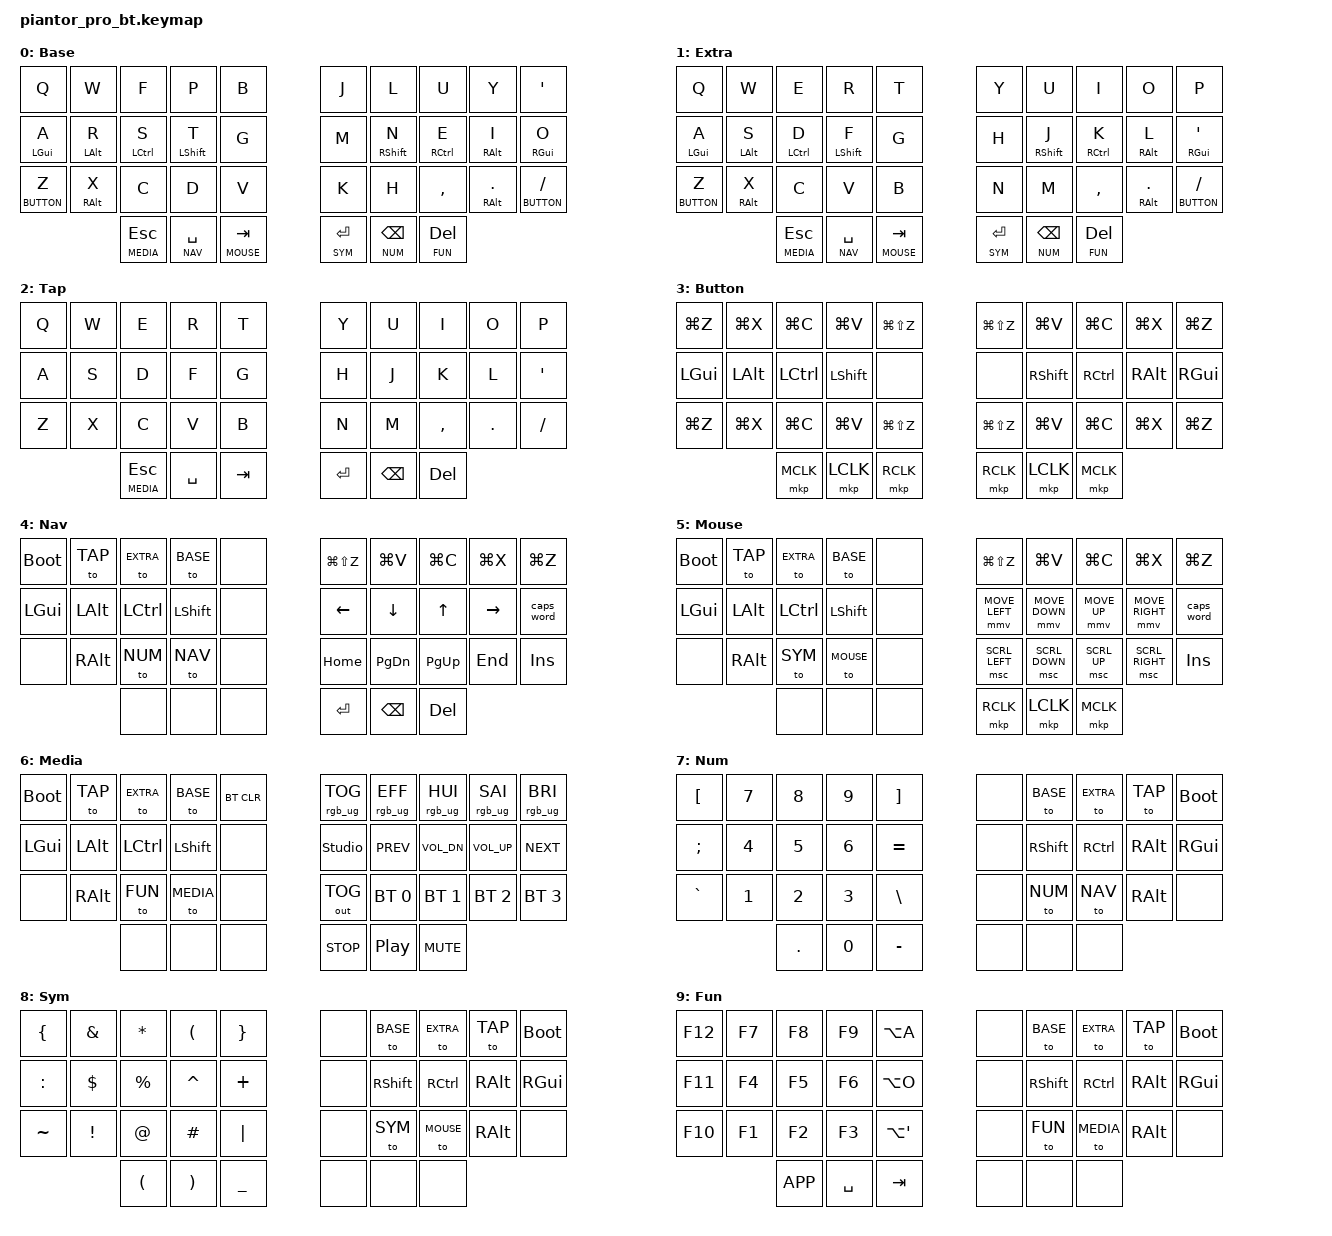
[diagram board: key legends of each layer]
/*
 * Copyright (c) 2020 The ZMK Contributors
 *
 * SPDX-License-Identifier: MIT
 *
 * Miryoku-inspired layout for Piantor Pro BT (5-col, 36-key)
 * Reference: https://github.com/manna-harbour/miryoku
 *
 * Base: Colemak-DH
 * Home row mods: GACS (GUI / Alt / Ctrl / Shift), mirrored both hands
 * Thumb cluster: ESC→Media | Spc→Nav | Tab→Mouse ║ Ret→Sym | Bspc→Num | Del→Fun
 */

#include <behaviors.dtsi>
#include <dt-bindings/zmk/keys.h>
#include <dt-bindings/zmk/bt.h>
#include <dt-bindings/zmk/rgb.h>
#include <dt-bindings/zmk/outputs.h>
#define ZMK_POINTING_DEFAULT_MOVE_VAL 900
#define ZMK_POINTING_DEFAULT_SCRL_VAL 15
#include <dt-bindings/zmk/pointing.h>

// Layer indices
#define BASE   0
#define EXTRA  1
#define TAP    2
#define BUTTON 3
#define NAV    4
#define MOUSE  5
#define MEDIA  6
#define NUM    7
#define SYM    8
#define FUN    9

// Key positions (36-key 5-col layout):
//  0  1  2  3  4    5  6  7  8  9
// 10 11 12 13 14   15 16 17 18 19
// 20 21 22 23 24   25 26 27 28 29
//          30 31 32  33 34 35

/ {
    chosen {
        zmk,physical-layout = &five_col_layout;
    };
};

/ {
    behaviors {
        // Left-hand home row mods — hold triggers when a right-side key is also pressed
        hml: homerow_mods_left {
            compatible = "zmk,behavior-hold-tap";
            #binding-cells = <2>;
            tapping-term-ms = <280>;
            quick-tap-ms = <175>;
            require-prior-idle-ms = <150>;
            flavor = "balanced";
            bindings = <&kp>, <&kp>;
            hold-trigger-key-positions = <5 6 7 8 9 15 16 17 18 19 25 26 27 28 29 33 34 35>;
            hold-trigger-on-release;
        };

        // Right-hand home row mods — hold triggers when a left-side key is also pressed
        hmr: homerow_mods_right {
            compatible = "zmk,behavior-hold-tap";
            #binding-cells = <2>;
            tapping-term-ms = <280>;
            quick-tap-ms = <175>;
            require-prior-idle-ms = <150>;
            flavor = "balanced";
            bindings = <&kp>, <&kp>;
            hold-trigger-key-positions = <0 1 2 3 4 10 11 12 13 14 20 21 22 23 24 30 31 32>;
            hold-trigger-on-release;
        };
    };

    keymap {
        compatible = "zmk,keymap";

        // ┌─────────────────────────────────────────────────────────────────────────┐
        // │ 0: Base — Colemak-DH + home row mods (GACS)                            │
        // │  Q   W   F   P   B     J   L   U   Y   '                               │
        // │ ^A  ⌥R  ⌃S  ⇧T   G     M  ⇧N  ⌃E  ⌥I  ^O                              │
        // │ ⬛Z  ⌥X   C   D   V     K   H   ,  ⌥.  ⬛/                              │
        // │          ⎋  Spc Tab   Ret Bsp Del                                       │
        // │       (Med)(Nav)(Mou)(Sym)(Num)(Fun)                                    │
        // └─────────────────────────────────────────────────────────────────────────┘
        base_layer {
            display-name = "Base";
            bindings = <
                &kp Q         &kp W         &kp F          &kp P          &kp B            &kp J          &kp L          &kp U          &kp Y         &kp SQT
                &hml LGUI A   &hml LALT R   &hml LCTRL S   &hml LSHFT T   &kp G            &kp M          &hmr RSHFT N   &hmr RCTRL E   &hmr RALT I   &hmr RGUI O
                &lt BUTTON Z  &hml RALT X   &kp C          &kp D          &kp V            &kp K          &kp H          &kp COMMA      &hmr RALT DOT &lt BUTTON FSLH
                                            &lt MEDIA ESC  &lt NAV SPACE  &lt MOUSE TAB    &lt SYM RET    &lt NUM BSPC   &lt FUN DEL
            >;
        };

        // ┌──────────────────────────────────────────────────────────────────────────────────────────────┐
        // │ 1: Extra — QWERTY with home row mods (same CAGS structure as Base)                         │
        // └──────────────────────────────────────────────────────────────────────────────────────────────┘
        extra_layer {
            display-name = "Extra";
            bindings = <
                &kp Q         &kp W         &kp E          &kp R          &kp T            &kp Y          &kp U          &kp I          &kp O         &kp P
                &hml LGUI A   &hml LALT S   &hml LCTRL D   &hml LSHFT F   &kp G            &kp H          &hmr RSHFT J   &hmr RCTRL K   &hmr RALT L   &hmr RGUI SQT
                &lt BUTTON Z  &hml RALT X   &kp C          &kp V          &kp B            &kp N          &kp M          &kp COMMA      &hmr RALT DOT &lt BUTTON FSLH
                                            &lt MEDIA ESC  &lt NAV SPACE  &lt MOUSE TAB    &lt SYM RET    &lt NUM BSPC   &lt FUN DEL
            >;
        };

        // ┌──────────────────────────────────────────────────────────────────────────────────────────────┐
        // │ 2: Tap — plain QWERTY, no hold behaviors (useful for gaming or hold-incompatible apps)       │
        // └──────────────────────────────────────────────────────────────────────────────────────────────┘
        tap_layer {
            display-name = "Tap";
            bindings = <
                &kp Q         &kp W         &kp E          &kp R          &kp T            &kp Y          &kp U          &kp I          &kp O         &kp P
                &kp A         &kp S         &kp D          &kp F          &kp G            &kp H          &kp J          &kp K          &kp L         &kp SQT
                &kp Z         &kp X         &kp C          &kp V          &kp B            &kp N          &kp M          &kp COMMA      &kp DOT       &kp FSLH
                                            &lt MEDIA ESC  &kp SPACE      &kp TAB          &kp RET        &kp BSPC       &kp DEL
            >;
        };

        // ┌──────────────────────────────────────────────────────────────────────────────────────────────────────────┐
        // │ 3: Button — clipboard (undo/cut/copy/paste/redo) mirrored both halves; mouse buttons on thumbs           │
        // │ Activated by holding Z (left outer) or / (right outer)                                                   │
        // └──────────────────────────────────────────────────────────────────────────────────────────────────────────┘
        button_layer {
            display-name = "Button";
            bindings = <
                &kp LG(Z)     &kp LG(X)     &kp LG(C)      &kp LG(V)      &kp LG(LS(Z))        &kp LG(LS(Z))      &kp LG(V)      &kp LG(C)      &kp LG(X)     &kp LG(Z)
                &kp LGUI      &kp LALT      &kp LCTRL      &kp LSHFT      &none            &none          &kp RSHFT      &kp RCTRL      &kp RALT      &kp RGUI
                &kp LG(Z)     &kp LG(X)     &kp LG(C)      &kp LG(V)      &kp LG(LS(Z))        &kp LG(LS(Z))      &kp LG(V)      &kp LG(C)      &kp LG(X)     &kp LG(Z)
                                            &mkp MCLK      &mkp LCLK      &mkp RCLK        &mkp RCLK      &mkp LCLK      &mkp MCLK
            >;
        };

        // ┌─────────────────────────────────────────────────────────────────────────────────────────────────────────┐
        // │ 4: Nav — cursor + clipboard (right); layer switches + modifiers (left)                                   │
        // │ Activated by holding Space                                                                               │
        // └─────────────────────────────────────────────────────────────────────────────────────────────────────────┘
        nav_layer {
            display-name = "Nav";
            bindings = <
                &bootloader   &to TAP       &to EXTRA      &to BASE       &none            &kp LG(LS(Z))  &kp LG(V)      &kp LG(C)      &kp LG(X)     &kp LG(Z)
                &kp LGUI      &kp LALT      &kp LCTRL      &kp LSHFT      &none            &kp LEFT       &kp DOWN       &kp UP         &kp RIGHT     &caps_word
                &none         &kp RALT      &to NUM        &to NAV        &none            &kp HOME       &kp PG_DN      &kp PG_UP      &kp END       &kp INS
                                            &none          &none          &none            &kp RET        &kp BSPC       &kp DEL
            >;
        };

        // ┌─────────────────────────────────────────────────────────────────────────────────────────────────────────┐
        // │ 5: Mouse — pointer movement + scroll (right); layer switches + modifiers (left)                         │
        // │ Activated by holding Tab                                                                                 │
        // └─────────────────────────────────────────────────────────────────────────────────────────────────────────┘
        mouse_layer {
            display-name = "Mouse";
            bindings = <
                &bootloader   &to TAP       &to EXTRA      &to BASE       &none            &kp LG(LS(Z))  &kp LG(V)      &kp LG(C)      &kp LG(X)     &kp LG(Z)
                &kp LGUI      &kp LALT      &kp LCTRL      &kp LSHFT      &none            &mmv MOVE_LEFT &mmv MOVE_DOWN &mmv MOVE_UP  &mmv MOVE_RIGHT &caps_word
                &none         &kp RALT      &to SYM        &to MOUSE      &none            &msc SCRL_LEFT &msc SCRL_DOWN &msc SCRL_UP  &msc SCRL_RIGHT &kp INS
                                            &none          &none          &none            &mkp RCLK      &mkp LCLK      &mkp MCLK
            >;
        };

        // ┌─────────────────────────────────────────────────────────────────────────────────────────────────────────┐
        // │ 6: Media — RGB, media controls, BT management (right); layer switches + BT clear (left)                 │
        // │ studio_unlock on right home row for ZMK Studio access                                                   │
        // │ Activated by holding Esc                                                                                 │
        // └─────────────────────────────────────────────────────────────────────────────────────────────────────────┘
        media_layer {
            display-name = "Media";
            bindings = <
                &bootloader   &to TAP       &to EXTRA      &to BASE       &bt BT_CLR       &rgb_ug RGB_TOG &rgb_ug RGB_EFF &rgb_ug RGB_HUI &rgb_ug RGB_SAI &rgb_ug RGB_BRI
                &kp LGUI      &kp LALT      &kp LCTRL      &kp LSHFT      &none            &studio_unlock  &kp C_PREV      &kp C_VOL_DN    &kp C_VOL_UP    &kp C_NEXT
                &none         &kp RALT      &to FUN        &to MEDIA      &none            &out OUT_TOG    &bt BT_SEL 0    &bt BT_SEL 1    &bt BT_SEL 2    &bt BT_SEL 3
                                            &none          &none          &none            &kp C_STOP      &kp C_PP        &kp C_MUTE
            >;
        };

        // ┌─────────────────────────────────────────────────────────────────────────────────────────────────────────┐
        // │ 7: Num — numpad layout (left); layer switches + modifiers (right)                                        │
        // │ Thumb: . | 0 | -                                                                                         │
        // │ Activated by holding Backspace                                                                           │
        // └─────────────────────────────────────────────────────────────────────────────────────────────────────────┘
        num_layer {
            display-name = "Num";
            bindings = <
                &kp LBKT      &kp N7        &kp N8         &kp N9         &kp RBKT         &none          &to BASE       &to EXTRA      &to TAP       &bootloader
                &kp SEMI      &kp N4        &kp N5         &kp N6         &kp EQUAL        &none          &kp RSHFT      &kp RCTRL      &kp RALT      &kp RGUI
                &kp GRAVE     &kp N1        &kp N2         &kp N3         &kp BSLH         &none          &to NUM        &to NAV        &kp RALT      &none
                                            &kp DOT        &kp N0         &kp MINUS        &none          &none          &none
            >;
        };

        // ┌─────────────────────────────────────────────────────────────────────────────────────────────────────────┐
        // │ 8: Sym — shifted symbol variants mirroring Num positions (left); layer switches + modifiers (right)     │
        // │ Thumb: ( | ) | _                                                                                         │
        // │ Activated by holding Return                                                                              │
        // └─────────────────────────────────────────────────────────────────────────────────────────────────────────┘
        sym_layer {
            display-name = "Sym";
            bindings = <
                &kp LBRC      &kp AMPS      &kp ASTRK      &kp LPAR       &kp RBRC         &none          &to BASE       &to EXTRA      &to TAP       &bootloader
                &kp COLON     &kp DLLR      &kp PRCNT      &kp CARET      &kp PLUS         &none          &kp RSHFT      &kp RCTRL      &kp RALT      &kp RGUI
                &kp TILDE     &kp EXCL      &kp AT         &kp HASH       &kp PIPE         &none          &to SYM        &to MOUSE      &kp RALT      &none
                                            &kp LPAR       &kp RPAR       &kp UNDER        &none          &none          &none
            >;
        };

        // ┌─────────────────────────────────────────────────────────────────────────────────────────────────────────┐
        // │ 9: Fun — function keys mirroring Num layout (left); layer switches + modifiers (right)                  │
        // │ Thumb: App | Space | Tab                                                                                 │
        // │ Activated by holding Delete                                                                              │
        // └─────────────────────────────────────────────────────────────────────────────────────────────────────────┘
        fun_layer {
            display-name = "Fun";
            bindings = <
                &kp F12       &kp F7        &kp F8         &kp F9         &kp LA(A)        &none          &to BASE       &to EXTRA      &to TAP       &bootloader
                &kp F11       &kp F4        &kp F5         &kp F6         &kp LA(O)        &none          &kp RSHFT      &kp RCTRL      &kp RALT      &kp RGUI
                &kp F10       &kp F1        &kp F2         &kp F3         &kp LA(SQT)      &none          &to FUN        &to MEDIA      &kp RALT      &none
                                            &kp K_APP      &kp SPACE      &kp TAB          &none          &none          &none
            >;
        };
    };
};
